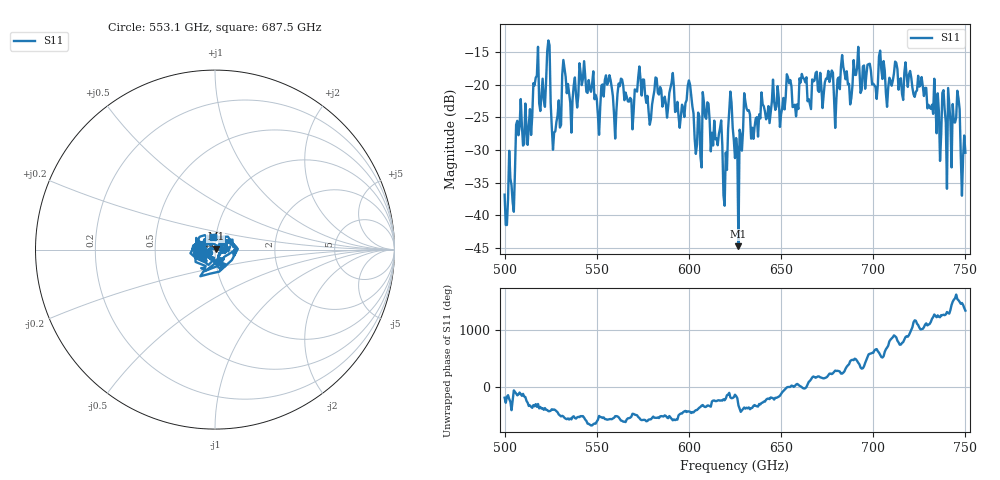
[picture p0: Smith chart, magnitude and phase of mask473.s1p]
!Created with skrf (http://scikit-rf.org).
# GHz S MA R 50.0
!freq magS11 angS11
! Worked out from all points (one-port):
!   401 points, 500 GHz to 750 GHz, reference 50 ohm
!   lowest |S11| = -44.7 dB at 626.9 GHz (marker M1), VSWR 1.01, Z = 50.4 + j0.432 ohm
!   |S11| at or under -10 dB: start of sweep to end of sweep
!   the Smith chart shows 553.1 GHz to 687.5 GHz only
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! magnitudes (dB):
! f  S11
! 500 GHz  -36.8
! 504.4 GHz  -38.0
! 507.5 GHz  -27.7
! 513.8 GHz  -23.7
! 516.9 GHz  -18.9
! 520.6 GHz  -19.1
! 523.8 GHz  -13.2
! 526.9 GHz  -27.3
! 531.2 GHz  -18.5
! 562.5 GHz  -20.2
! 579.4 GHz  -25.2
! 590.6 GHz  -19.6
! 593.8 GHz  -22.6
! 600.6 GHz  -20.0
! 605.6 GHz  -24.8
! 608.8 GHz  -24.9
! 619.4 GHz  -38.5
! 622.5 GHz  -21.0
! 625 GHz  -31.2
! 626.9 GHz  -44.7
! 631.2 GHz  -23.6
! 635 GHz  -28.3
! 656.2 GHz  -23.4
! 687.5 GHz  -23.0
! 718.8 GHz  -20.3
! 741.2 GHz  -22.9
! 745.6 GHz  -20.9
! 750 GHz  -30.4
